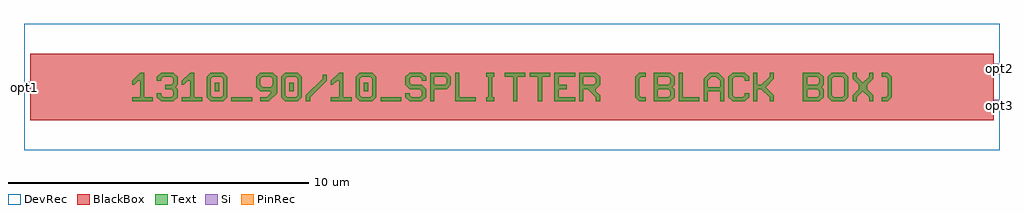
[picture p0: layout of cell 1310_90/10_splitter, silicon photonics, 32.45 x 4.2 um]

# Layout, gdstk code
import gdstk
lib = gdstk.Library(unit=1e-6, precision=1e-09)
def R(c, l, rs):  # rectangles x0, y0, x1, y1
    for r in rs: c.add(gdstk.rectangle(r[:2], r[2:], *l))
def A(c, l, x, y, w, h, nx, ny, dx, dy):  # array of equal rectangles
    R(c, l, [(x+i*dx, y+j*dy, x+i*dx+w, y+j*dy+h) for i in range(nx) for j in range(ny)])
def P(c, l, *ps):  # polygons
    for p in ps: c.add(gdstk.Polygon(p, *l))
Si = (1, 0)
PinRec = (1, 10)
Text = (10, 0)
DevRec = (68, 0)
BlackBox = (998, 0)

text = lib.new_cell('TEXT')
A(text, Text, 2.753, 0.344, 0.138, 0.276, 3, 1, 2.478, 0)
R(text, Text, [(3.304,0,3.993,0.138), (8.26,0,8.949,0.138)])
P(text, Text, [(0,0),(0,0.138),(0.275,0.138),(0.275,0.689),(0.207,0.689),(0.069,0.551),(0,0.551),(0,0.689),(0.275,0.964),(0.413,0.964),(0.413,0.138),(0.689,0.138),(0.689,0)],
  [(0.964,0),(0.826,0.138),(0.826,0.275),(0.964,0.275),(0.964,0.207),(1.033,0.138),(1.308,0.138),(1.377,0.207),(1.377,0.344),(1.308,0.413),(1.101,0.413),(1.101,0.551),(1.308,0.551),(1.377,0.62),(1.377,0.758),(1.308,0.826),(1.033,0.826),(0.964,0.758),(0.964,0.689),(0.826,0.689),(0.826,0.826),(0.964,0.964),(1.377,0.964),(1.515,0.826),(1.515,0.551),(1.446,0.482),(1.515,0.413),(1.515,0.138),(1.377,0)],
  [(1.652,0),(1.652,0.138),(1.927,0.138),(1.927,0.689),(1.859,0.689),(1.721,0.551),(1.652,0.551),(1.652,0.689),(1.927,0.964),(2.065,0.964),(2.065,0.138),(2.341,0.138),(2.341,0)],
  [(2.616,0),(2.478,0.138),(2.478,0.826),(2.616,0.964),(3.029,0.964),(3.167,0.826),(2.685,0.826),(2.616,0.758),(2.616,0.207),(2.685,0.138),(2.96,0.138),(3.029,0.207),(3.029,0.758),(2.96,0.826),(3.167,0.826),(3.167,0.138),(3.029,0)],
  [(4.268,0),(4.268,0.138),(4.474,0.138),(4.612,0.275),(4.612,0.344),(4.268,0.344),(4.13,0.482),(4.612,0.482),(4.681,0.551),(4.681,0.758),(4.612,0.826),(4.337,0.826),(4.268,0.758),(4.268,0.551),(4.337,0.482),(4.13,0.482),(4.13,0.826),(4.268,0.964),(4.681,0.964),(4.819,0.826),(4.819,0.275),(4.543,0)],
  [(5.094,0),(4.956,0.138),(4.956,0.826),(5.094,0.964),(5.507,0.964),(5.645,0.826),(5.163,0.826),(5.094,0.758),(5.094,0.207),(5.163,0.138),(5.438,0.138),(5.507,0.207),(5.507,0.758),(5.438,0.826),(5.645,0.826),(5.645,0.138),(5.507,0)],
  [(5.782,0),(5.782,0.207),(6.333,0.758),(6.333,0.895),(6.471,0.895),(6.471,0.689),(5.92,0.138),(5.92,0)],
  [(6.608,0),(6.608,0.138),(6.883,0.138),(6.883,0.689),(6.815,0.689),(6.677,0.551),(6.608,0.551),(6.608,0.689),(6.883,0.964),(7.021,0.964),(7.021,0.138),(7.297,0.138),(7.297,0)],
  [(7.572,0),(7.434,0.138),(7.434,0.826),(7.572,0.964),(7.985,0.964),(8.123,0.826),(7.641,0.826),(7.572,0.758),(7.572,0.207),(7.641,0.138),(7.916,0.138),(7.985,0.207),(7.985,0.758),(7.916,0.826),(8.123,0.826),(8.123,0.138),(7.985,0)],
  [(9.224,0),(9.086,0.138),(9.086,0.275),(9.224,0.275),(9.224,0.207),(9.293,0.138),(9.568,0.138),(9.637,0.207),(9.637,0.344),(9.568,0.413),(9.224,0.413),(9.086,0.551),(9.086,0.826),(9.224,0.964),(9.637,0.964),(9.775,0.826),(9.775,0.689),(9.637,0.689),(9.637,0.758),(9.568,0.826),(9.293,0.826),(9.224,0.758),(9.224,0.62),(9.293,0.551),(9.637,0.551),(9.775,0.413),(9.775,0.138),(9.637,0)],
  [(9.912,0),(9.912,0.964),(10.463,0.964),(10.601,0.826),(10.601,0.551),(10.463,0.413),(10.05,0.413),(10.05,0.551),(10.394,0.551),(10.463,0.62),(10.463,0.758),(10.394,0.826),(10.05,0.826),(10.05,0)],
  [(10.738,0),(10.738,0.964),(10.876,0.964),(10.876,0.138),(11.427,0.138),(11.427,0)],
  [(11.771,0),(11.771,0.138),(11.839,0.138),(11.839,0.826),(11.771,0.826),(11.771,0.964),(12.046,0.964),(12.046,0.826),(11.977,0.826),(11.977,0.138),(12.046,0.138),(12.046,0)],
  [(12.665,0),(12.665,0.826),(12.39,0.826),(12.39,0.964),(13.079,0.964),(13.079,0.826),(12.803,0.826),(12.803,0)],
  [(13.491,0),(13.491,0.826),(13.216,0.826),(13.216,0.964),(13.905,0.964),(13.905,0.826),(13.629,0.826),(13.629,0)],
  [(14.042,0),(14.042,0.964),(14.731,0.964),(14.731,0.826),(14.18,0.826),(14.18,0.551),(14.455,0.551),(14.455,0.413),(14.18,0.413),(14.18,0.138),(14.731,0.138),(14.731,0)],
  [(14.868,0),(14.868,0.964),(15.419,0.964),(15.557,0.826),(15.006,0.826),(15.006,0.551),(15.35,0.551),(15.419,0.62),(15.419,0.758),(15.35,0.826),(15.557,0.826),(15.557,0.551),(15.419,0.413),(15.419,0.344),(15.557,0.207),(15.557,0),(15.419,0),(15.419,0.138),(15.143,0.413),(15.006,0.413),(15.006,0)],
  [(16.864,0),(16.727,0.138),(16.727,0.826),(16.864,0.964),(17.071,0.964),(17.071,0.826),(16.933,0.826),(16.864,0.758),(16.864,0.207),(16.933,0.138),(17.071,0.138),(17.071,0)],
  [(17.346,0),(17.346,0.964),(17.897,0.964),(18.035,0.826),(17.484,0.826),(17.484,0.551),(17.828,0.551),(17.897,0.62),(17.897,0.758),(17.828,0.826),(18.035,0.826),(18.035,0.551),(17.966,0.482),(18.035,0.413),(17.484,0.413),(17.484,0.138),(17.828,0.138),(17.897,0.207),(17.897,0.344),(17.828,0.413),(18.035,0.413),(18.035,0.138),(17.897,0)],
  [(18.172,0),(18.172,0.964),(18.31,0.964),(18.31,0.138),(18.861,0.138),(18.861,0)],
  [(18.998,0),(18.998,0.758),(19.205,0.964),(19.48,0.964),(19.618,0.826),(19.273,0.826),(19.136,0.689),(19.136,0.482),(19.549,0.482),(19.549,0.689),(19.411,0.826),(19.618,0.826),(19.687,0.758),(19.687,0),(19.549,0),(19.549,0.344),(19.136,0.344),(19.136,0)],
  [(19.962,0),(19.824,0.138),(19.824,0.826),(19.962,0.964),(20.375,0.964),(20.513,0.826),(20.513,0.689),(20.375,0.689),(20.375,0.758),(20.306,0.826),(20.031,0.826),(19.962,0.758),(19.962,0.207),(20.031,0.138),(20.306,0.138),(20.375,0.207),(20.375,0.275),(20.513,0.275),(20.513,0.138),(20.375,0)],
  [(20.65,0),(20.65,0.964),(20.788,0.964),(20.788,0.551),(20.925,0.551),(21.201,0.826),(21.201,0.964),(21.339,0.964),(21.339,0.758),(21.063,0.482),(21.339,0.207),(21.339,0),(21.201,0),(21.201,0.138),(20.925,0.413),(20.788,0.413),(20.788,0)],
  [(22.302,0),(22.302,0.964),(22.853,0.964),(22.991,0.826),(22.44,0.826),(22.44,0.551),(22.784,0.551),(22.853,0.62),(22.853,0.758),(22.784,0.826),(22.991,0.826),(22.991,0.551),(22.922,0.482),(22.991,0.413),(22.44,0.413),(22.44,0.138),(22.784,0.138),(22.853,0.207),(22.853,0.344),(22.784,0.413),(22.991,0.413),(22.991,0.138),(22.853,0)],
  [(23.266,0),(23.128,0.138),(23.128,0.826),(23.266,0.964),(23.679,0.964),(23.817,0.826),(23.817,0.482),(23.679,0.482),(23.679,0.758),(23.61,0.826),(23.335,0.826),(23.266,0.758),(23.266,0.207),(23.335,0.138),(23.61,0.138),(23.679,0.207),(23.679,0.482),(23.817,0.482),(23.817,0.138),(23.679,0)],
  [(23.954,0),(23.954,0.207),(24.161,0.413),(24.161,0.551),(23.954,0.758),(23.954,0.964),(24.092,0.964),(24.092,0.826),(24.298,0.62),(24.505,0.826),(24.505,0.964),(24.643,0.964),(24.643,0.758),(24.436,0.551),(24.436,0.413),(24.643,0.207),(24.643,0),(24.505,0),(24.505,0.138),(24.298,0.344),(24.092,0.138),(24.092,0)],
  [(24.918,0),(24.918,0.138),(25.055,0.138),(25.124,0.207),(25.124,0.758),(25.055,0.826),(24.918,0.826),(24.918,0.964),(25.124,0.964),(25.262,0.826),(25.262,0.138),(25.124,0)])

c_1310_90_10_splitter = lib.new_cell('1310_90/10_splitter')
R(c_1310_90_10_splitter, Si, [(16.013,-0.775,16.213,-0.425), (-16.213,-0.175,-16.013,0.175), (16.013,0.425,16.213,0.775)])
R(c_1310_90_10_splitter, DevRec, [(-16.213,-2.1,16.213,2.1)])
R(c_1310_90_10_splitter, BlackBox, [(-16.013,-1.1,16.013,1.1)])
c_1310_90_10_splitter.add(gdstk.FlexPath([(-16.203,0),(-16.223,0)], 0.35, ends="flush", simple_path=True, layer=1, datatype=10))  # PinRec
c_1310_90_10_splitter.add(gdstk.FlexPath([(16.203,0.6),(16.223,0.6)], 0.35, ends="flush", simple_path=True, layer=1, datatype=10))  # PinRec
c_1310_90_10_splitter.add(gdstk.FlexPath([(16.203,-0.6),(16.223,-0.6)], 0.35, ends="flush", simple_path=True, layer=1, datatype=10))  # PinRec
c_1310_90_10_splitter.add(gdstk.Reference(text, (-12.631,-0.482)))
c_1310_90_10_splitter.add(gdstk.Label('opt1', (-16.213,0), layer=1, texttype=10))
c_1310_90_10_splitter.add(gdstk.Label('opt2', (16.213,0.6), layer=1, texttype=10))
c_1310_90_10_splitter.add(gdstk.Label('opt3', (16.213,-0.6), layer=1, texttype=10))
c_1310_90_10_splitter.add(gdstk.Label('10%', (15.763,0.6), layer=10, texttype=0))
c_1310_90_10_splitter.add(gdstk.Label('90%', (15.763,-0.6), layer=10, texttype=0))
c_1310_90_10_splitter.add(gdstk.Label('100%', (-15.763,0), layer=10, texttype=0))

lib.write_gds('1310_90_10_splitter.gds')
